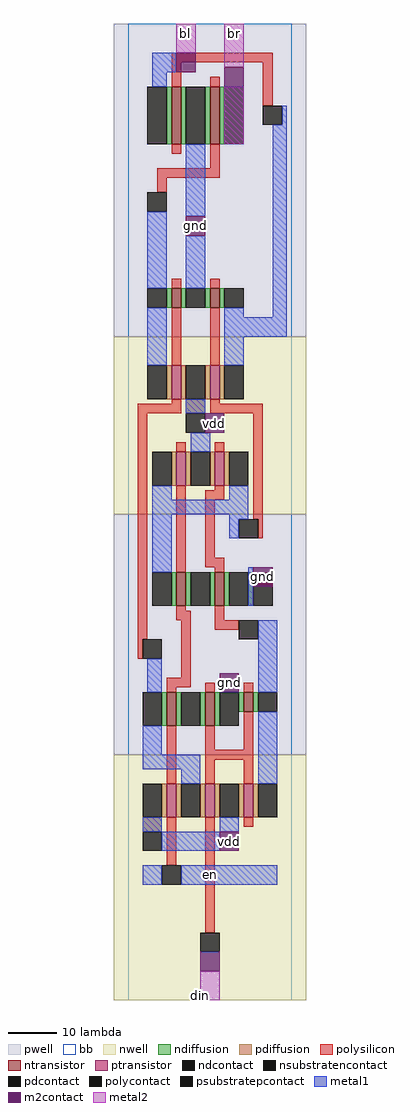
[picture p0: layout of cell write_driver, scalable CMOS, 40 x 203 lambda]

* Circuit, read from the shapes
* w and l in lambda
.subckt write_driver bl br din en gnd vdd
M1 n1 en n2 gnd nfet w=7 l=2
M2 gnd n2 n3 gnd nfet w=4 l=2
M3 gnd n4 bl gnd nfet w=12 l=2
M4 n5 en n6 gnd nfet w=7 l=2
M5 gnd din n1 gnd nfet w=7 l=2
M6 n4 n6 gnd gnd nfet w=4 l=2
M7 br n3 gnd gnd nfet w=12 l=2
M8 gnd n7 n5 gnd nfet w=7 l=2
M9 n7 din gnd gnd nfet w=4 l=2
M10 n2 en vdd vdd pfet w=7 l=2
M11 vdd n2 n3 vdd pfet w=7 l=2
M12 vdd en n6 vdd pfet w=7 l=2
M13 vdd din n2 vdd pfet w=7 l=2
M14 n4 n6 vdd vdd pfet w=7 l=2
M15 n6 n7 vdd vdd pfet w=7 l=2
M16 n7 din vdd vdd pfet w=7 l=2
.ends

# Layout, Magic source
magic
tech scmos
<< nwell >>
rect -3 101 37 138
rect -3 0 37 51
<< pwell >>
rect -3 138 37 203
rect -3 51 37 101
<< ntransistor >>
rect 9 178 11 190
rect 17 178 19 190
rect 9 144 11 148
rect 17 144 19 148
rect 10 82 12 89
rect 18 82 20 89
rect 8 57 10 64
rect 16 57 18 64
rect 24 60 26 64
<< ptransistor >>
rect 9 125 11 132
rect 17 125 19 132
rect 10 107 12 114
rect 18 107 20 114
rect 8 38 10 45
rect 16 38 18 45
rect 24 38 26 45
<< ndiffusion >>
rect 8 178 9 190
rect 11 178 12 190
rect 16 178 17 190
rect 19 178 20 190
rect 8 144 9 148
rect 11 144 12 148
rect 16 144 17 148
rect 19 144 20 148
rect 9 82 10 89
rect 12 82 13 89
rect 17 82 18 89
rect 20 82 21 89
rect 25 82 26 89
rect 7 57 8 64
rect 10 57 11 64
rect 15 57 16 64
rect 18 57 19 64
rect 23 60 24 64
rect 26 60 27 64
<< pdiffusion >>
rect 8 125 9 132
rect 11 125 12 132
rect 16 125 17 132
rect 19 125 20 132
rect 12 122 16 125
rect 9 107 10 114
rect 12 107 13 114
rect 17 107 18 114
rect 20 107 21 114
rect 7 38 8 45
rect 10 38 11 45
rect 15 38 16 45
rect 18 38 19 45
rect 23 38 24 45
rect 26 38 27 45
rect 3 35 7 38
<< ndcontact >>
rect 4 178 8 190
rect 12 178 16 190
rect 20 178 24 190
rect 4 144 8 148
rect 12 144 16 148
rect 20 144 24 148
rect 5 82 9 89
rect 13 82 17 89
rect 21 82 25 89
rect 3 57 7 64
rect 11 57 15 64
rect 19 57 23 64
rect 27 60 31 64
<< pdcontact >>
rect 4 125 8 132
rect 12 125 16 132
rect 20 125 24 132
rect 5 107 9 114
rect 13 107 17 114
rect 21 107 25 114
rect 3 38 7 45
rect 11 38 15 45
rect 19 38 23 45
rect 27 38 31 45
<< psubstratepcontact >>
rect 26 82 30 89
<< nsubstratencontact >>
rect 12 118 16 122
rect 3 31 7 35
<< polysilicon >>
rect 9 195 30 197
rect 9 190 11 195
rect 17 190 19 192
rect 28 186 30 195
rect 9 176 11 178
rect 17 173 19 178
rect 6 171 19 173
rect 6 168 8 171
rect 9 148 11 150
rect 17 148 19 150
rect 9 132 11 144
rect 17 132 19 144
rect 9 124 11 125
rect 2 122 11 124
rect 17 124 19 125
rect 17 122 28 124
rect 2 75 4 122
rect 10 114 12 116
rect 18 114 20 116
rect 10 89 12 107
rect 18 106 20 107
rect 16 104 20 106
rect 16 92 18 104
rect 26 100 28 122
rect 27 96 28 100
rect 16 90 20 92
rect 18 89 20 90
rect 10 81 12 82
rect 10 79 13 81
rect 2 71 3 75
rect 11 67 13 79
rect 18 79 20 82
rect 18 77 23 79
rect 8 65 13 67
rect 8 64 10 65
rect 16 64 18 66
rect 24 64 26 66
rect 8 45 10 57
rect 16 52 18 57
rect 24 52 26 60
rect 16 50 26 52
rect 16 45 18 50
rect 24 45 26 50
rect 8 28 10 38
rect 16 14 18 38
rect 24 36 26 38
<< polycontact >>
rect 28 182 32 186
rect 4 164 8 168
rect 23 96 27 100
rect 3 71 7 75
rect 23 75 27 79
rect 7 24 11 28
rect 15 10 19 14
<< metal1 >>
rect 5 193 10 197
rect 5 190 8 193
rect 32 182 33 186
rect 4 148 8 164
rect 12 163 16 178
rect 12 148 16 159
rect 4 132 8 144
rect 20 142 24 144
rect 30 142 33 182
rect 20 138 33 142
rect 20 132 24 138
rect 12 122 16 125
rect 13 114 17 118
rect 5 104 9 107
rect 21 104 25 107
rect 5 101 25 104
rect 5 89 9 101
rect 21 100 25 101
rect 21 96 23 100
rect 25 82 26 90
rect 4 64 7 71
rect 27 64 31 79
rect 3 51 7 57
rect 3 48 15 51
rect 11 45 15 48
rect 27 45 31 60
rect 3 35 7 38
rect 19 35 23 38
rect 7 31 19 35
rect 3 24 7 28
rect 11 24 31 28
<< m2contact >>
rect 10 193 14 197
rect 20 190 24 194
rect 12 159 16 163
rect 16 118 20 122
rect 26 89 30 90
rect 26 86 30 89
rect 19 64 23 68
rect 19 31 23 35
rect 15 6 19 10
<< metal2 >>
rect 10 197 14 203
rect 20 194 24 203
rect 20 178 24 190
rect 15 0 19 6
<< bb >>
rect 0 0 34 203
<< labels >>
rlabel metal2 15 1 15 1 1 din
rlabel m2contact 21 66 21 66 1 gnd
rlabel m2contact 28 88 28 88 1 gnd
rlabel m2contact 21 33 21 33 1 vdd
rlabel m2contact 18 120 18 120 1 vdd
rlabel metal2 12 201 12 201 5 bl
rlabel metal2 22 201 22 201 5 br
rlabel m2contact 14 161 14 161 1 gnd
rlabel metal1 17 26 17 26 1 en
<< end >>
